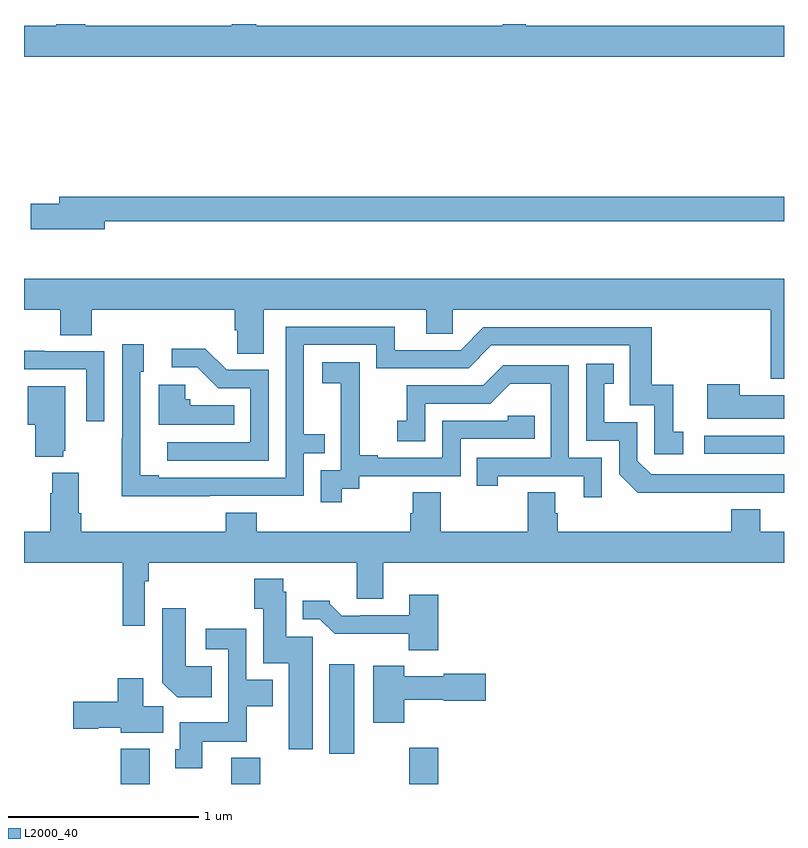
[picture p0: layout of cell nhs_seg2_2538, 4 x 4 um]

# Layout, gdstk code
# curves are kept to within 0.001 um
import gdstk
lib = gdstk.Library(unit=1e-6, precision=1e-09)
def R(c, l, rs):  # rectangles x0, y0, x1, y1
    for r in rs: c.add(gdstk.rectangle(r[:2], r[2:], *l))
def P(c, l, *ps):  # polygons
    for p in ps: c.add(gdstk.Polygon(p, *l))
L2000_40 = (2000, 40)

nhs_seg2_2538 = lib.new_cell('nhs_seg2_2538')
R(nhs_seg2_2538, L2000_40, [(243.509,651.8,243.661,651.985), (244.091,651.8,244.244,651.937), (245.027,651.8,245.18,651.991), (244.607,651.96,244.738,652.429), (246.579,653.538,247,653.634)])
P(nhs_seg2_2538, L2000_40, [(247,655.792),(245.641,655.792),(245.641,655.8),(245.52,655.8),(245.52,655.792),(244.223,655.792),(244.223,655.8),(244.094,655.8),(244.094,655.792),(243.322,655.792),(243.322,655.8),(243.17,655.8),(243.17,655.792),(243,655.792),(243,655.628),(247,655.628)],
  [(243.424,654.762),(247,654.762),(247,654.89),(243.185,654.89),(243.185,654.854),(243.036,654.854),(243.036,654.719),(243.424,654.719)],
  [(247,654.46),(243,654.46),(243,654.296),(243.191,654.296),(243.191,654.163),(243.356,654.163),(243.356,654.296),(244.109,654.296),(244.109,654.187),(244.122,654.187),(244.122,654.064),(244.261,654.064),(244.261,654.296),(245.117,654.296),(245.117,654.169),(245.256,654.169),(245.256,654.296),(246.929,654.296),(246.929,653.934),(247,653.934)],
  [(243.977,653.316),(244.473,653.316),(244.473,653.541),(244.583,653.541),(244.583,653.642),(244.473,653.642),(244.473,654.111),(244.854,654.111),(244.854,653.988),(245.34,653.988),(245.46,654.108),(246.189,654.108),(246.189,653.793),(246.318,653.793),(246.318,653.535),(246.469,653.535),(246.469,653.655),(246.416,653.655),(246.416,653.902),(246.305,653.902),(246.305,654.204),(245.418,654.204),(245.298,654.084),(244.951,654.084),(244.951,654.207),(244.377,654.207),(244.377,653.412),(243.709,653.412),(243.709,653.425),(243.612,653.425),(243.612,653.97),(243.631,653.97),(243.631,654.115),(243.516,654.115),(243.516,653.621),(243.514,653.621),(243.514,653.315)],
  [(244.287,653.979),(244.068,653.979),(243.955,654.092),(243.777,654.092),(243.777,653.994),(243.911,653.994),(244.022,653.883),(244.191,653.883),(244.191,653.598),(243.753,653.598),(243.753,653.502),(244.287,653.502)],
  [(243.423,654.078),(243.107,654.078),(243.107,654.08),(243,654.08),(243,653.982),(243.327,653.982),(243.327,653.709),(243.423,653.709)],
  [(244.672,653.353),(244.764,653.353),(244.764,653.421),(245.298,653.421),(245.298,653.616),(245.687,653.616),(245.687,653.739),(245.547,653.739),(245.547,653.712),(245.202,653.712),(245.202,653.517),(244.861,653.517),(244.861,653.53),(244.766,653.53),(244.766,653.813),(244.767,653.813),(244.767,654.019),(244.569,654.019),(244.569,653.909),(244.667,653.909),(244.667,653.681),(244.668,653.681),(244.668,653.451),(244.563,653.451),(244.563,653.283),(244.672,653.283)],
  [(246.638,653.334),(247,653.334),(247,653.43),(246.3,653.43),(246.228,653.502),(246.228,653.703),(246.055,653.703),(246.055,653.907),(246.104,653.907),(246.104,654.013),(245.958,654.013),(245.958,653.607),(246.132,653.607),(246.132,653.43),(246.23,653.333)],
  [(246.042,653.517),(245.868,653.517),(245.868,654.003),(245.522,654.003),(245.417,653.898),(245.014,653.898),(245.014,653.713),(244.965,653.713),(244.965,653.604),(245.112,653.604),(245.112,653.802),(245.454,653.802),(245.558,653.906),(245.772,653.906),(245.772,653.517),(245.383,653.517),(245.383,653.37),(245.494,653.37),(245.494,653.421),(245.945,653.421),(245.945,653.31),(246.042,653.31)],
  [(247,653.845),(246.767,653.845),(246.767,653.905),(246.596,653.905),(246.596,653.723),(247,653.723)],
  [(244.106,653.794),(243.876,653.794),(243.876,653.826),(243.849,653.826),(243.849,653.902),(243.71,653.902),(243.71,653.69),(244.106,653.69)],
  [(243.206,653.553),(243.217,653.553),(243.217,653.893),(243.02,653.893),(243.02,653.69),(243.059,653.69),(243.059,653.522),(243.206,653.522)],
  [(243.636,652.868),(243.656,652.868),(243.656,652.964),(244.751,652.964),(244.751,652.774),(244.891,652.774),(244.891,652.964),(247,652.964),(247,653.128),(246.874,653.128),(246.874,653.245),(246.722,653.245),(246.722,653.128),(245.81,653.128),(245.81,653.226),(245.797,653.226),(245.797,653.336),(245.65,653.336),(245.65,653.128),(245.193,653.128),(245.193,653.336),(245.045,653.336),(245.045,653.226),(245.033,653.226),(245.033,653.128),(244.226,653.128),(244.226,653.227),(244.061,653.227),(244.061,653.128),(243.302,653.128),(243.302,653.224),(243.289,653.224),(243.289,653.437),(243.149,653.437),(243.149,653.33),(243.137,653.33),(243.137,653.128),(243,653.128),(243,652.964),(243.52,652.964),(243.52,652.632),(243.636,652.632)],
  [(244.519,652.575),(244.381,652.575),(244.381,652.812),(244.365,652.812),(244.365,652.879),(244.213,652.879),(244.213,652.723),(244.259,652.723),(244.259,652.436),(244.394,652.436),(244.394,651.984),(244.519,651.984)],
  [(245.18,652.795),(245.027,652.795),(245.027,652.689),(244.771,652.689),(244.771,652.686),(244.672,652.686),(244.608,652.75),(244.608,652.765),(244.466,652.765),(244.466,652.668),(244.557,652.668),(244.636,652.59),(245.025,652.59),(245.025,652.505),(245.18,652.505)],
  [(243.989,652.42),(243.85,652.42),(243.85,652.726),(243.728,652.726),(243.728,652.334),(243.806,652.256),(243.989,652.256)],
  [(243.937,652.022),(244.173,652.022),(244.173,652.208),(244.309,652.208),(244.309,652.348),(244.17,652.348),(244.17,652.618),(243.957,652.618),(243.957,652.509),(244.074,652.509),(244.074,652.126),(243.821,652.126),(243.821,651.984),(243.797,651.984),(243.797,651.882),(243.937,651.882)],
  [(245.002,652.244),(245.208,652.244),(245.208,652.237),(245.431,652.237),(245.431,652.379),(245.208,652.379),(245.208,652.366),(245,652.366),(245,652.423),(244.838,652.423),(244.838,652.122),(245.002,652.122)],
  [(243.733,652.208),(243.628,652.208),(243.628,652.357),(243.494,652.357),(243.494,652.232),(243.258,652.232),(243.258,652.09),(243.39,652.09),(243.39,652.097),(243.51,652.097),(243.51,652.07),(243.733,652.07)])

lib.write_gds('nhs_seg2_2538.gds')
